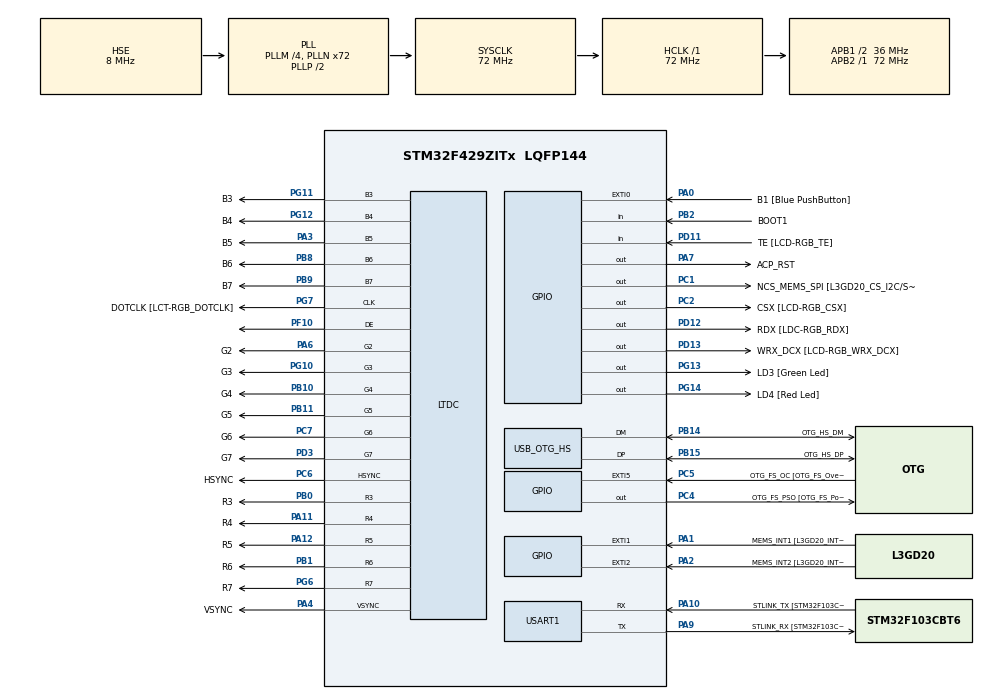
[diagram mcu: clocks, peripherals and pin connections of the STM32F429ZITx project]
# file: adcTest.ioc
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DMA2D.ColorMode=DMA2D_OUTPUT_RGB565
FREERTOS.Tasks01=blinkTask,24,128,StartBlinkTask,Default,NULL,Dynamic,NULL,NULL;usartTask,8,128,StartUsartTask,Default,NULL,Dynamic,NULL,NULL;lcdTask,8,128,StartLcdTask,Default,NULL,Dynamic,NULL,NULL
LTDC.ActiveH=240
LTDC.ActiveW=320
LTDC.Red=255
Mcu.Family=STM32F4
Mcu.Name=STM32F429ZITx
Mcu.Package=LQFP144
NVIC.OTG_HS_IRQn=true\:5\:0\:false\:false\:true\:true\:true\:true\:true
NVIC.PriorityGroup=NVIC_PRIORITYGROUP_4
NVIC.TIM6_DAC_IRQn=true\:15\:0\:false\:false\:true\:false\:false\:true\:true
NVIC.TimeBase=TIM6_DAC_IRQn
NVIC.TimeBaseIP=TIM6
PA0/WKUP.GPIO_Label=B1 [Blue PushButton]
PA0/WKUP.GPIO_ModeDefaultEXTI=GPIO_MODE_EVT_RISING
PA0/WKUP.GPIO_PuPd=GPIO_NOPULL
PA0/WKUP.Signal=GPXTI0
PA1.GPIO_Label=MEMS_INT1 [L3GD20_INT1]
PA1.GPIO_ModeDefaultEXTI=GPIO_MODE_EVT_RISING
PA1.GPIO_PuPd=GPIO_NOPULL
PA1.Signal=GPXTI1
PA10.GPIO_Label=STLINK_TX [STM32F103CBT6_PA2]
PA10.Mode=Asynchronous
PA10.Signal=USART1_RX
PA11.GPIO_Label=R4
PA11.GPIO_Mode=GPIO_MODE_AF_PP
PA11.GPIO_PuPd=GPIO_NOPULL
PA11.GPIO_Speed=GPIO_SPEED_FREQ_LOW
PA11.Mode=RGB565
PA11.Signal=LTDC_R4
PA12.GPIO_Label=R5
PA12.GPIO_Mode=GPIO_MODE_AF_PP
PA12.GPIO_PuPd=GPIO_NOPULL
PA12.GPIO_Speed=GPIO_SPEED_FREQ_LOW
PA12.Mode=RGB565
PA12.Signal=LTDC_R5
PA13.GPIO_Label=SWDIO
PA13.Mode=Serial_Wire
PA13.Signal=SYS_JTMS-SWDIO
PA14.GPIO_Label=SWCLK
PA14.Mode=Serial_Wire
PA14.Signal=SYS_JTCK-SWCLK
PA2.GPIO_Label=MEMS_INT2 [L3GD20_INT2]
PA2.GPIO_ModeDefaultEXTI=GPIO_MODE_EVT_RISING
PA2.GPIO_PuPd=GPIO_NOPULL
PA2.Signal=GPXTI2
PA3.GPIO_Label=B5
PA3.GPIO_Mode=GPIO_MODE_AF_PP
PA3.GPIO_PuPd=GPIO_NOPULL
PA3.GPIO_Speed=GPIO_SPEED_FREQ_LOW
PA3.Mode=RGB565
PA3.Signal=LTDC_B5
PA4.GPIO_Label=VSYNC
PA4.GPIO_Mode=GPIO_MODE_AF_PP
PA4.GPIO_PuPd=GPIO_NOPULL
PA4.GPIO_Speed=GPIO_SPEED_FREQ_LOW
PA4.Mode=RGB565
PA4.Signal=LTDC_VSYNC
PA6.GPIO_Label=G2
PA6.GPIO_Mode=GPIO_MODE_AF_PP
PA6.GPIO_PuPd=GPIO_NOPULL
PA6.GPIO_Speed=GPIO_SPEED_FREQ_LOW
PA6.Mode=RGB565
PA6.Signal=LTDC_G2
PA7.GPIO_Label=ACP_RST
PA7.GPIO_Mode=GPIO_MODE_OUTPUT_PP
PA7.GPIO_PuPd=GPIO_NOPULL
PA7.GPIO_Speed=GPIO_SPEED_FREQ_LOW
PA7.Signal=GPIO_Output
PA9.GPIO_Label=STLINK_RX [STM32F103CBT6_PA3]
PA9.Mode=Asynchronous
PA9.Signal=USART1_TX
PB0.GPIO_Label=R3
PB0.GPIO_Mode=GPIO_MODE_AF_PP
PB0.GPIO_PuPd=GPIO_NOPULL
PB0.GPIO_Speed=GPIO_SPEED_FREQ_LOW
PB0.Mode=RGB565
PB0.Signal=LTDC_R3
PB1.GPIO_Label=R6
PB1.GPIO_Mode=GPIO_MODE_AF_PP
PB1.GPIO_PuPd=GPIO_NOPULL
PB1.GPIO_Speed=GPIO_SPEED_FREQ_LOW
PB1.Mode=RGB565
PB1.Signal=LTDC_R6
PB10.GPIO_Label=G4
PB10.GPIO_Mode=GPIO_MODE_AF_PP
PB10.GPIO_PuPd=GPIO_NOPULL
PB10.GPIO_Speed=GPIO_SPEED_FREQ_LOW
PB10.Mode=RGB565
PB10.Signal=LTDC_G4
PB11.GPIO_Label=G5
PB11.GPIO_Mode=GPIO_MODE_AF_PP
PB11.GPIO_PuPd=GPIO_NOPULL
PB11.GPIO_Speed=GPIO_SPEED_FREQ_LOW
PB11.Mode=RGB565
PB11.Signal=LTDC_G5
PB13.GPIO_Label=VBUS_HS
PB13.GPIO_Mode=GPIO_MODE_INPUT
PB13.GPIO_PuPd=GPIO_NOPULL
PB13.Signal=USB_OTG_HS_VBUS
PB14.GPIO_Label=OTG_HS_DM
PB14.GPIO_Mode=GPIO_MODE_AF_PP
PB14.GPIO_PuPd=GPIO_NOPULL
PB14.GPIO_Speed=GPIO_SPEED_FREQ_LOW
PB14.Mode=Host_FS
PB14.Signal=USB_OTG_HS_DM
PB15.GPIO_Label=OTG_HS_DP
PB15.GPIO_Mode=GPIO_MODE_AF_PP
PB15.GPIO_PuPd=GPIO_NOPULL
PB15.GPIO_Speed=GPIO_SPEED_FREQ_LOW
PB15.Mode=Host_FS
PB15.Signal=USB_OTG_HS_DP
PB2/BOOT1.GPIO_Label=BOOT1
PB2/BOOT1.GPIO_Mode=GPIO_MODE_INPUT
PB2/BOOT1.GPIO_PuPd=GPIO_NOPULL
PB2/BOOT1.Signal=GPIO_Input
PB5.GPIO_Label=SDCKE1
PB5.GPIO_Mode=GPIO_MODE_AF_PP
PB5.GPIO_PuPd=GPIO_NOPULL
PB5.GPIO_Speed=GPIO_SPEED_FREQ_VERY_HIGH
PB5.Signal=FMC_SDCKE1
PB6.GPIO_Label=SDNE1 [SDRAM_CS]
PB6.GPIO_Mode=GPIO_MODE_AF_PP
PB6.GPIO_PuPd=GPIO_NOPULL
PB6.GPIO_Speed=GPIO_SPEED_FREQ_VERY_HIGH
PB6.Signal=FMC_SDNE1
PB8.GPIO_Label=B6
PB8.GPIO_Mode=GPIO_MODE_AF_PP
PB8.GPIO_PuPd=GPIO_NOPULL
PB8.GPIO_Speed=GPIO_SPEED_FREQ_LOW
PB8.Mode=RGB565
PB8.Signal=LTDC_B6
PB9.GPIO_Label=B7
PB9.GPIO_Mode=GPIO_MODE_AF_PP
PB9.GPIO_PuPd=GPIO_NOPULL
PB9.GPIO_Speed=GPIO_SPEED_FREQ_LOW
PB9.Mode=RGB565
PB9.Signal=LTDC_B7
PC0.GPIO_Label=SDNWE
PC0.GPIO_Mode=GPIO_MODE_AF_PP
PC0.GPIO_PuPd=GPIO_NOPULL
PC0.GPIO_Speed=GPIO_SPEED_FREQ_VERY_HIGH
PC0.Signal=FMC_SDNWE
PC1.GPIO_Label=NCS_MEMS_SPI [L3GD20_CS_I2C/SPI]
PC1.GPIO_Mode=GPIO_MODE_OUTPUT_PP
PC1.GPIO_PuPd=GPIO_NOPULL
PC1.GPIO_Speed=GPIO_SPEED_FREQ_LOW
PC1.Signal=GPIO_Output
PC10.GPIO_Label=R2
PC10.GPIO_Mode=GPIO_MODE_AF_PP
PC10.GPIO_PuPd=GPIO_NOPULL
PC10.GPIO_Speed=GPIO_SPEED_FREQ_LOW
PC10.Signal=LTDC_R2
PC2.GPIO_Label=CSX [LCD-RGB_CSX]
PC2.GPIO_Mode=GPIO_MODE_OUTPUT_PP
PC2.GPIO_PuPd=GPIO_NOPULL
PC2.GPIO_Speed=GPIO_SPEED_FREQ_LOW
PC2.Signal=GPIO_Output
PC4.GPIO_Label=OTG_FS_PSO [OTG_FS_PowerSwitchOn]
PC4.GPIO_Mode=GPIO_MODE_OUTPUT_PP
PC4.GPIO_PuPd=GPIO_NOPULL
PC4.GPIO_Speed=GPIO_SPEED_FREQ_LOW
PC4.Signal=GPIO_Output
PC5.GPIO_Label=OTG_FS_OC [OTG_FS_OverCurrent]
PC5.GPIO_ModeDefaultEXTI=GPIO_MODE_EVT_RISING
PC5.Signal=GPXTI5
PC6.GPIO_Label=HSYNC
PC6.GPIO_Mode=GPIO_MODE_AF_PP
PC6.GPIO_PuPd=GPIO_NOPULL
PC6.GPIO_Speed=GPIO_SPEED_FREQ_LOW
PC6.Mode=RGB565
PC6.Signal=LTDC_HSYNC
PC7.GPIO_Label=G6
PC7.GPIO_Mode=GPIO_MODE_AF_PP
PC7.GPIO_PuPd=GPIO_NOPULL
PC7.GPIO_Speed=GPIO_SPEED_FREQ_LOW
PC7.Mode=RGB565
PC7.Signal=LTDC_G6
PD0.GPIO_Label=D2
PD0.GPIO_Mode=GPIO_MODE_AF_PP
PD0.GPIO_PuPd=GPIO_NOPULL
PD0.GPIO_Speed=GPIO_SPEED_FREQ_VERY_HIGH
PD0.Signal=FMC_D2_DA2
PD1.GPIO_Label=D3
PD1.GPIO_Mode=GPIO_MODE_AF_PP
PD1.GPIO_PuPd=GPIO_NOPULL
PD1.GPIO_Speed=GPIO_SPEED_FREQ_VERY_HIGH
PD1.Signal=FMC_D3_DA3
PD10.GPIO_Label=D15
PD10.GPIO_Mode=GPIO_MODE_AF_PP
PD10.GPIO_PuPd=GPIO_NOPULL
PD10.GPIO_Speed=GPIO_SPEED_FREQ_VERY_HIGH
PD10.Signal=FMC_D15_DA15
PD11.GPIO_Label=TE [LCD-RGB_TE]
PD11.GPIO_Mode=GPIO_MODE_INPUT
PD11.GPIO_PuPd=GPIO_NOPULL
PD11.Signal=GPIO_Input
PD12.GPIO_Label=RDX [LDC-RGB_RDX]
PD12.GPIO_Mode=GPIO_MODE_OUTPUT_PP
PD12.GPIO_PuPd=GPIO_NOPULL
PD12.GPIO_Speed=GPIO_SPEED_FREQ_LOW
PD12.Signal=GPIO_Output
PD13.GPIO_Label=WRX_DCX [LCD-RGB_WRX_DCX]
PD13.GPIO_Mode=GPIO_MODE_OUTPUT_PP
PD13.GPIO_PuPd=GPIO_NOPULL
PD13.GPIO_Speed=GPIO_SPEED_FREQ_LOW
PD13.Signal=GPIO_Output
PD14.GPIO_Label=D0
PD14.GPIO_Mode=GPIO_MODE_AF_PP
PD14.GPIO_PuPd=GPIO_NOPULL
PD14.GPIO_Speed=GPIO_SPEED_FREQ_VERY_HIGH
PD14.Signal=FMC_D0_DA0
PD15.GPIO_Label=D1
PD15.GPIO_Mode=GPIO_MODE_AF_PP
PD15.GPIO_PuPd=GPIO_NOPULL
PD15.GPIO_Speed=GPIO_SPEED_FREQ_VERY_HIGH
PD15.Signal=FMC_D1_DA1
PD3.GPIO_Label=G7
PD3.GPIO_Mode=GPIO_MODE_AF_PP
PD3.GPIO_PuPd=GPIO_NOPULL
PD3.GPIO_Speed=GPIO_SPEED_FREQ_LOW
PD3.Mode=RGB565
PD3.Signal=LTDC_G7
PD6.GPIO_Label=B2
PD6.GPIO_Mode=GPIO_MODE_AF_PP
PD6.GPIO_PuPd=GPIO_NOPULL
PD6.GPIO_Speed=GPIO_SPEED_FREQ_LOW
PD6.Signal=LTDC_B2
PD8.GPIO_Label=D13
PD8.GPIO_Mode=GPIO_MODE_AF_PP
PD8.GPIO_PuPd=GPIO_NOPULL
PD8.GPIO_Speed=GPIO_SPEED_FREQ_VERY_HIGH
PD8.Signal=FMC_D13_DA13
PD9.GPIO_Label=D14
PD9.GPIO_Mode=GPIO_MODE_AF_PP
PD9.GPIO_PuPd=GPIO_NOPULL
PD9.GPIO_Speed=GPIO_SPEED_FREQ_VERY_HIGH
PD9.Signal=FMC_D14_DA14
PE0.GPIO_Label=NBL0 [SDRAM_LDQM]
PE0.GPIO_Mode=GPIO_MODE_AF_PP
PE0.GPIO_PuPd=GPIO_NOPULL
PE0.GPIO_Speed=GPIO_SPEED_FREQ_VERY_HIGH
PE0.Signal=FMC_NBL0
PE1.GPIO_Label=NBL1 [SDRAM_UDQM]
PE1.GPIO_Mode=GPIO_MODE_AF_PP
PE1.GPIO_PuPd=GPIO_NOPULL
PE1.GPIO_Speed=GPIO_SPEED_FREQ_VERY_HIGH
PE1.Signal=FMC_NBL1
PE10.GPIO_Label=D7
PE10.GPIO_Mode=GPIO_MODE_AF_PP
PE10.GPIO_PuPd=GPIO_NOPULL
PE10.GPIO_Speed=GPIO_SPEED_FREQ_VERY_HIGH
PE10.Signal=FMC_D7_DA7
PE11.GPIO_Label=D8
PE11.GPIO_Mode=GPIO_MODE_AF_PP
PE11.GPIO_PuPd=GPIO_NOPULL
PE11.GPIO_Speed=GPIO_SPEED_FREQ_VERY_HIGH
PE11.Signal=FMC_D8_DA8
PE12.GPIO_Label=D9
PE12.GPIO_Mode=GPIO_MODE_AF_PP
PE12.GPIO_PuPd=GPIO_NOPULL
PE12.GPIO_Speed=GPIO_SPEED_FREQ_VERY_HIGH
PE12.Signal=FMC_D9_DA9
PE13.GPIO_Label=D10
PE13.GPIO_Mode=GPIO_MODE_AF_PP
PE13.GPIO_PuPd=GPIO_NOPULL
PE13.GPIO_Speed=GPIO_SPEED_FREQ_VERY_HIGH
PE13.Signal=FMC_D10_DA10
PE14.GPIO_Label=D11
PE14.GPIO_Mode=GPIO_MODE_AF_PP
PE14.GPIO_PuPd=GPIO_NOPULL
PE14.GPIO_Speed=GPIO_SPEED_FREQ_VERY_HIGH
PE14.Signal=FMC_D11_DA11
PE15.GPIO_Label=D12
PE15.GPIO_Mode=GPIO_MODE_AF_PP
PE15.GPIO_PuPd=GPIO_NOPULL
PE15.GPIO_Speed=GPIO_SPEED_FREQ_VERY_HIGH
PE15.Signal=FMC_D12_DA12
PE7.GPIO_Label=D4
PE7.GPIO_Mode=GPIO_MODE_AF_PP
PE7.GPIO_PuPd=GPIO_NOPULL
PE7.GPIO_Speed=GPIO_SPEED_FREQ_VERY_HIGH
PE7.Signal=FMC_D4_DA4
PE8.GPIO_Label=D5
PE8.GPIO_Mode=GPIO_MODE_AF_PP
PE8.GPIO_PuPd=GPIO_NOPULL
PE8.GPIO_Speed=GPIO_SPEED_FREQ_VERY_HIGH
PE8.Signal=FMC_D5_DA5
PE9.GPIO_Label=D6
PE9.GPIO_Mode=GPIO_MODE_AF_PP
PE9.GPIO_PuPd=GPIO_NOPULL
PE9.GPIO_Speed=GPIO_SPEED_FREQ_VERY_HIGH
PE9.Signal=FMC_D6_DA6
PF0.GPIO_Label=A0
PF0.GPIO_Mode=GPIO_MODE_AF_PP
PF0.GPIO_PuPd=GPIO_NOPULL
PF0.GPIO_Speed=GPIO_SPEED_FREQ_VERY_HIGH
PF0.Signal=FMC_A0
PF1.GPIO_Label=A1
PF1.GPIO_Mode=GPIO_MODE_AF_PP
PF1.GPIO_PuPd=GPIO_NOPULL
PF1.GPIO_Speed=GPIO_SPEED_FREQ_VERY_HIGH
PF1.Signal=FMC_A1
PF10.Mode=RGB565
PF10.Signal=LTDC_DE
PF11.GPIO_Label=SDNRAS
PF11.GPIO_Mode=GPIO_MODE_AF_PP
PF11.GPIO_PuPd=GPIO_NOPULL
PF11.GPIO_Speed=GPIO_SPEED_FREQ_VERY_HIGH
PF11.Signal=FMC_SDNRAS
PF12.GPIO_Label=A6
PF12.GPIO_Mode=GPIO_MODE_AF_PP
PF12.GPIO_PuPd=GPIO_NOPULL
PF12.GPIO_Speed=GPIO_SPEED_FREQ_VERY_HIGH
PF12.Signal=FMC_A6
PF13.GPIO_Label=A7
PF13.GPIO_Mode=GPIO_MODE_AF_PP
PF13.GPIO_PuPd=GPIO_NOPULL
PF13.GPIO_Speed=GPIO_SPEED_FREQ_VERY_HIGH
PF13.Signal=FMC_A7
PF14.GPIO_Label=A8
PF14.GPIO_Mode=GPIO_MODE_AF_PP
PF14.GPIO_PuPd=GPIO_NOPULL
PF14.GPIO_Speed=GPIO_SPEED_FREQ_VERY_HIGH
PF14.Signal=FMC_A8
PF15.GPIO_Label=A9
PF15.GPIO_Mode=GPIO_MODE_AF_PP
PF15.GPIO_PuPd=GPIO_NOPULL
PF15.GPIO_Speed=GPIO_SPEED_FREQ_VERY_HIGH
PF15.Signal=FMC_A9
PF2.GPIO_Label=A2
PF2.GPIO_Mode=GPIO_MODE_AF_PP
PF2.GPIO_PuPd=GPIO_NOPULL
PF2.GPIO_Speed=GPIO_SPEED_FREQ_VERY_HIGH
PF2.Signal=FMC_A2
PF3.GPIO_Label=A3
PF3.GPIO_Mode=GPIO_MODE_AF_PP
PF3.GPIO_PuPd=GPIO_NOPULL
PF3.GPIO_Speed=GPIO_SPEED_FREQ_VERY_HIGH
PF3.Signal=FMC_A3
PF4.GPIO_Label=A4
PF4.GPIO_Mode=GPIO_MODE_AF_PP
PF4.GPIO_PuPd=GPIO_NOPULL
PF4.GPIO_Speed=GPIO_SPEED_FREQ_VERY_HIGH
PF4.Signal=FMC_A4
PF5.GPIO_Label=A5
PF5.GPIO_Mode=GPIO_MODE_AF_PP
PF5.GPIO_PuPd=GPIO_NOPULL
PF5.GPIO_Speed=GPIO_SPEED_FREQ_VERY_HIGH
PF5.Signal=FMC_A5
PG0.GPIO_Label=A10
PG0.GPIO_Mode=GPIO_MODE_AF_PP
PG0.GPIO_PuPd=GPIO_NOPULL
PG0.GPIO_Speed=GPIO_SPEED_FREQ_VERY_HIGH
PG0.Signal=FMC_A10
PG1.GPIO_Label=A11
PG1.GPIO_Mode=GPIO_MODE_AF_PP
PG1.GPIO_PuPd=GPIO_NOPULL
PG1.GPIO_Speed=GPIO_SPEED_FREQ_VERY_HIGH
PG1.Signal=FMC_A11
PG10.GPIO_Label=G3
PG10.GPIO_Mode=GPIO_MODE_AF_PP
PG10.GPIO_PuPd=GPIO_NOPULL
PG10.GPIO_Speed=GPIO_SPEED_FREQ_LOW
PG10.Mode=RGB565
PG10.Signal=LTDC_G3
PG11.GPIO_Label=B3
PG11.GPIO_Mode=GPIO_MODE_AF_PP
PG11.GPIO_PuPd=GPIO_NOPULL
PG11.GPIO_Speed=GPIO_SPEED_FREQ_LOW
PG11.Mode=RGB565
PG11.Signal=LTDC_B3
PG12.GPIO_Label=B4
PG12.GPIO_Mode=GPIO_MODE_AF_PP
PG12.GPIO_PuPd=GPIO_NOPULL
PG12.GPIO_Speed=GPIO_SPEED_FREQ_LOW
PG12.Mode=RGB565
PG12.Signal=LTDC_B4
PG13.GPIO_Label=LD3 [Green Led]
PG13.GPIO_Mode=GPIO_MODE_OUTPUT_PP
PG13.GPIO_PuPd=GPIO_NOPULL
PG13.GPIO_Speed=GPIO_SPEED_FREQ_LOW
PG13.Signal=GPIO_Output
PG14.GPIO_Label=LD4 [Red Led]
PG14.GPIO_Mode=GPIO_MODE_OUTPUT_PP
PG14.GPIO_PuPd=GPIO_NOPULL
PG14.GPIO_Speed=GPIO_SPEED_FREQ_LOW
PG14.Signal=GPIO_Output
PG15.GPIO_Label=SDNCAS
PG15.GPIO_Mode=GPIO_MODE_AF_PP
PG15.GPIO_PuPd=GPIO_NOPULL
PG15.GPIO_Speed=GPIO_SPEED_FREQ_VERY_HIGH
PG15.Signal=FMC_SDNCAS
PG4.GPIO_Label=BA0
PG4.GPIO_Mode=GPIO_MODE_AF_PP
PG4.GPIO_PuPd=GPIO_NOPULL
PG4.GPIO_Speed=GPIO_SPEED_FREQ_VERY_HIGH
PG4.Signal=FMC_A14_BA0
PG5.GPIO_Label=BA1
PG5.GPIO_Mode=GPIO_MODE_AF_PP
PG5.GPIO_PuPd=GPIO_NOPULL
PG5.GPIO_Speed=GPIO_SPEED_FREQ_VERY_HIGH
PG5.Signal=FMC_A15_BA1
PG6.GPIO_Label=R7
PG6.GPIO_Mode=GPIO_MODE_AF_PP
PG6.GPIO_PuPd=GPIO_NOPULL
PG6.GPIO_Speed=GPIO_SPEED_FREQ_LOW
PG6.Mode=RGB565
PG6.Signal=LTDC_R7
PG7.GPIO_Label=DOTCLK [LCT-RGB_DOTCLK]
PG7.GPIO_Mode=GPIO_MODE_AF_PP
PG7.GPIO_PuPd=GPIO_NOPULL
PG7.GPIO_Speed=GPIO_SPEED_FREQ_LOW
PG7.Mode=RGB565
PG7.Signal=LTDC_CLK
PG8.GPIO_Label=SDCLK
PG8.GPIO_Mode=GPIO_MODE_AF_PP
PG8.GPIO_PuPd=GPIO_NOPULL
PG8.GPIO_Speed=GPIO_SPEED_FREQ_VERY_HIGH
PG8.Signal=FMC_SDCLK
PH0/OSC_IN.GPIO_Label=PH0-OSC_IN
PH0/OSC_IN.Mode=HSE-External-Oscillator
PH0/OSC_IN.Signal=RCC_OSC_IN
PH1/OSC_OUT.GPIO_Label=PH1-OSC_OUT
PH1/OSC_OUT.Mode=HSE-External-Oscillator
PH1/OSC_OUT.Signal=RCC_OSC_OUT
ProjectManager.HeapSize=0x200
ProjectManager.StackSize=0x400
ProjectManager.TargetToolchain=Makefile
RCC.48MHZClocksFreq_Value=48000000
RCC.AHBFreq_Value=72000000
RCC.APB1CLKDivider=RCC_HCLK_DIV2
RCC.APB1Freq_Value=36000000
RCC.APB1TimFreq_Value=72000000
RCC.APB2Freq_Value=72000000
RCC.APB2TimFreq_Value=72000000
RCC.CortexFreq_Value=72000000
RCC.HCLKFreq_Value=72000000
RCC.HSE_VALUE=8000000
RCC.HSI_VALUE=16000000
RCC.LSE_VALUE=32768
RCC.PLLM=4
RCC.PLLN=72
RCC.PLLQ=3
RCC.PLLSAIN=50
RCC.SYSCLKFreq_VALUE=72000000
RCC.SYSCLKSource=RCC_SYSCLKSOURCE_PLLCLK
RCC.VCOOutputFreq_Value=144000000
SH.FMC_A0.0=FMC_A0
SH.FMC_A1.0=FMC_A1
SH.FMC_A10.0=FMC_A10
SH.FMC_A11.0=FMC_A11
SH.FMC_A14_BA0.0=FMC_BA0
SH.FMC_A15_BA1.0=FMC_BA1
SH.FMC_A2.0=FMC_A2
SH.FMC_A3.0=FMC_A3
SH.FMC_A4.0=FMC_A4
SH.FMC_A5.0=FMC_A5
SH.FMC_A6.0=FMC_A6
SH.FMC_A7.0=FMC_A7
SH.FMC_A8.0=FMC_A8
SH.FMC_A9.0=FMC_A9
SH.FMC_D0_DA0.0=FMC_D0
SH.FMC_D10_DA10.0=FMC_D10
SH.FMC_D11_DA11.0=FMC_D11
SH.FMC_D12_DA12.0=FMC_D12
SH.FMC_D13_DA13.0=FMC_D13
SH.FMC_D14_DA14.0=FMC_D14
SH.FMC_D15_DA15.0=FMC_D15
SH.FMC_D1_DA1.0=FMC_D1
SH.FMC_D2_DA2.0=FMC_D2
SH.FMC_D3_DA3.0=FMC_D3
SH.FMC_D4_DA4.0=FMC_D4
SH.FMC_D5_DA5.0=FMC_D5
SH.FMC_D6_DA6.0=FMC_D6
SH.FMC_D7_DA7.0=FMC_D7
SH.FMC_D8_DA8.0=FMC_D8
SH.FMC_D9_DA9.0=FMC_D9
SH.FMC_NBL0.0=FMC_NBL0
SH.FMC_NBL1.0=FMC_NBL1
SH.FMC_SDCLK.0=FMC_SDCLK
SH.FMC_SDNCAS.0=FMC_SDNCAS
SH.FMC_SDNRAS.0=FMC_SDNRAS
SH.FMC_SDNWE.0=FMC_SDNWE
USART1.VirtualMode=VM_ASYNC
USB_HOST.BSP.number=1
USB_HOST.USBH_HandleTypeDef-CDC_HS=hUsbHostHS
USB_HOST.USBH_USE_OS-CDC_HS=0
USB_HOST.VirtualModeHS=Cdc
USB_HOST0.BSP.STBoard=false
USB_HOST0.BSP.api=UnknownBspDriver
USB_HOST0.BSP.i2caddr=0
USB_HOST0.BSP.i2creg=0
USB_HOST0.BSP.instance=PC4
USB_HOST0.BSP.ip=GPIO
USB_HOST0.BSP.mode=Output
USB_HOST0.BSP.name=Drive_VBUS_HS
USB_HOST0.BSP.solution=PC4
USB_OTG_HS.VirtualMode-Host_FS=Host_FS
VP_DMA2D_VS_DMA2D.Mode=DMA2D_Activate
VP_FREERTOS_VS_CMSIS_V2.Mode=CMSIS_V2
VP_SYS_VS_tim6.Mode=TIM6
VP_TIM1_VS_ClockSourceINT.Mode=Internal
VP_USB_HOST_VS_USB_HOST_CDC_HS.Mode=CDC_HS
board=STM32F429I-DISC1

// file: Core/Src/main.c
/* USER CODE BEGIN Header */
/**
  ******************************************************************************
  * @file           : main.c
  * @brief          : Main program body
  ******************************************************************************
  * @attention
  *
  * Copyright (c) 2022 STMicroelectronics.
  * All rights reserved.
  *
  * This software is licensed under terms that can be found in the LICENSE file
  * in the root directory of this software component.
  * If no LICENSE file comes with this software, it is provided AS-IS.
  *
  ******************************************************************************
  */
/* USER CODE END Header */
#include "main.h"
#include "cmsis_os.h"
#include "usb_host.h"

/* USER CODE BEGIN Includes */
#include <stdio.h>
#include <string.h>

#include "stm32f429i_discovery_lcd.h"
#include "stm32f429i_discovery_sdram.h"
#include "stm32f429i_discovery_ts.h"
/* USER CODE END Includes */

DMA2D_HandleTypeDef hdma2d;

LTDC_HandleTypeDef hltdc;

TIM_HandleTypeDef htim1;

UART_HandleTypeDef huart1;

/* Definitions for blinkTask */
osThreadId_t blinkTaskHandle;
const osThreadAttr_t blinkTask_attributes = {
  .name = "blinkTask",
  .stack_size = 128 * 4,
  .priority = (osPriority_t) osPriorityNormal,
};
/* Definitions for usartTask */
osThreadId_t usartTaskHandle;
const osThreadAttr_t usartTask_attributes = {
  .name = "usartTask",
  .stack_size = 128 * 4,
  .priority = (osPriority_t) osPriorityLow,
};
/* Definitions for lcdTask */
osThreadId_t lcdTaskHandle;
const osThreadAttr_t lcdTask_attributes = {
  .name = "lcdTask",
  .stack_size = 128 * 4,
  .priority = (osPriority_t) osPriorityLow,
};

void SystemClock_Config(void);
static void MX_GPIO_Init(void);
static void MX_TIM1_Init(void);
static void MX_USART1_UART_Init(void);
static void MX_DMA2D_Init(void);
static void MX_LTDC_Init(void);
void StartBlinkTask(void *argument);
void StartUsartTask(void *argument);
void StartLcdTask(void *argument);

int main(void)
{

  /* MCU Configuration--------------------------------------------------------*/

  /* Reset of all peripherals, Initializes the Flash interface and the Systick. */
  HAL_Init();

  /* Configure the system clock */
  SystemClock_Config();

  /* Initialize all configured peripherals */
  MX_GPIO_Init();
  MX_TIM1_Init();
  MX_USART1_UART_Init();
  MX_DMA2D_Init();
  MX_LTDC_Init();
  /* USER CODE BEGIN 2 */
  //BSP_SDRAM_Init();
  //BSP_TS_Init(240, 320);

  BSP_LCD_Init();
  BSP_LCD_LayerDefaultInit(0, 0xC0000000);
  BSP_LCD_DisplayOn();

  BSP_LCD_SelectLayer(0);
  BSP_LCD_Clear(LCD_COLOR_BLACK);
  BSP_LCD_SetTextColor(LCD_COLOR_RED);
  /* USER CODE END 2 */

  /* Init scheduler */
  osKernelInitialize();

  /* Create the thread(s) */
  /* creation of blinkTask */
  blinkTaskHandle = osThreadNew(StartBlinkTask, NULL, &blinkTask_attributes);

  /* creation of usartTask */
  usartTaskHandle = osThreadNew(StartUsartTask, NULL, &usartTask_attributes);

  /* creation of lcdTask */
  lcdTaskHandle = osThreadNew(StartLcdTask, NULL, &lcdTask_attributes);

  /* Start scheduler */
  osKernelStart();

  /* We should never get here as control is now taken by the scheduler */
  /* Infinite loop */
  while (1)
  {

    /* USER CODE BEGIN 3 */
    if (HAL_GPIO_ReadPin(GPIOA, GPIO_PIN_0) == GPIO_PIN_SET)
    {
      HAL_GPIO_WritePin(GPIOG, GPIO_PIN_13, GPIO_PIN_SET);
      HAL_GPIO_WritePin(GPIOG, GPIO_PIN_14, GPIO_PIN_RESET);
      HAL_Delay(100);
      HAL_GPIO_WritePin(GPIOG, GPIO_PIN_13, GPIO_PIN_RESET);
      HAL_GPIO_WritePin(GPIOG, GPIO_PIN_14, GPIO_PIN_SET);
      HAL_Delay(100);
    }
    else
    {
      HAL_GPIO_WritePin(GPIOG, GPIO_PIN_13, GPIO_PIN_RESET);
      HAL_GPIO_WritePin(GPIOG, GPIO_PIN_14, GPIO_PIN_RESET);
    }
  }
  /* USER CODE END 3 */
}

void SystemClock_Config(void)
{
  RCC_OscInitTypeDef RCC_OscInitStruct = {0};
  RCC_ClkInitTypeDef RCC_ClkInitStruct = {0};

  /** Configure the main internal regulator output voltage
  */
  __HAL_RCC_PWR_CLK_ENABLE();
  __HAL_PWR_VOLTAGESCALING_CONFIG(PWR_REGULATOR_VOLTAGE_SCALE3);

  /** Initializes the RCC Oscillators according to the specified parameters
  * in the RCC_OscInitTypeDef structure.
  */
  RCC_OscInitStruct.OscillatorType = RCC_OSCILLATORTYPE_HSE;
  RCC_OscInitStruct.HSEState = RCC_HSE_ON;
  RCC_OscInitStruct.PLL.PLLState = RCC_PLL_ON;
  RCC_OscInitStruct.PLL.PLLSource = RCC_PLLSOURCE_HSE;
  RCC_OscInitStruct.PLL.PLLM = 4;
  RCC_OscInitStruct.PLL.PLLN = 72;
  RCC_OscInitStruct.PLL.PLLP = RCC_PLLP_DIV2;
  RCC_OscInitStruct.PLL.PLLQ = 3;
  if (HAL_RCC_OscConfig(&RCC_OscInitStruct) != HAL_OK)
  {
    Error_Handler();
  }

  /** Initializes the CPU, AHB and APB buses clocks
  */
  RCC_ClkInitStruct.ClockType = RCC_CLOCKTYPE_HCLK|RCC_CLOCKTYPE_SYSCLK
                              |RCC_CLOCKTYPE_PCLK1|RCC_CLOCKTYPE_PCLK2;
  RCC_ClkInitStruct.SYSCLKSource = RCC_SYSCLKSOURCE_PLLCLK;
  RCC_ClkInitStruct.AHBCLKDivider = RCC_SYSCLK_DIV1;
  RCC_ClkInitStruct.APB1CLKDivider = RCC_HCLK_DIV2;
  RCC_ClkInitStruct.APB2CLKDivider = RCC_HCLK_DIV1;

  if (HAL_RCC_ClockConfig(&RCC_ClkInitStruct, FLASH_LATENCY_2) != HAL_OK)
  {
    Error_Handler();
  }
}

static void MX_DMA2D_Init(void)
{

  hdma2d.Instance = DMA2D;
  hdma2d.Init.Mode = DMA2D_M2M;
  hdma2d.Init.ColorMode = DMA2D_OUTPUT_RGB565;
  hdma2d.Init.OutputOffset = 0;
  hdma2d.LayerCfg[1].InputOffset = 0;
  hdma2d.LayerCfg[1].InputColorMode = DMA2D_INPUT_RGB565;
  hdma2d.LayerCfg[1].AlphaMode = DMA2D_NO_MODIF_ALPHA;
  hdma2d.LayerCfg[1].InputAlpha = 0;
  if (HAL_DMA2D_Init(&hdma2d) != HAL_OK)
  {
    Error_Handler();
  }
  if (HAL_DMA2D_ConfigLayer(&hdma2d, 1) != HAL_OK)
  {
    Error_Handler();
  }

}

static void MX_LTDC_Init(void)
{

  LTDC_LayerCfgTypeDef pLayerCfg = {0};
  LTDC_LayerCfgTypeDef pLayerCfg1 = {0};

  hltdc.Instance = LTDC;
  hltdc.Init.HSPolarity = LTDC_HSPOLARITY_AL;
  hltdc.Init.VSPolarity = LTDC_VSPOLARITY_AL;
  hltdc.Init.DEPolarity = LTDC_DEPOLARITY_AL;
  hltdc.Init.PCPolarity = LTDC_PCPOLARITY_IPC;
  hltdc.Init.HorizontalSync = 7;
  hltdc.Init.VerticalSync = 3;
  hltdc.Init.AccumulatedHBP = 14;
  hltdc.Init.AccumulatedVBP = 5;
  hltdc.Init.AccumulatedActiveW = 334;
  hltdc.Init.AccumulatedActiveH = 245;
  hltdc.Init.TotalWidth = 340;
  hltdc.Init.TotalHeigh = 247;
  hltdc.Init.Backcolor.Blue = 0;
  hltdc.Init.Backcolor.Green = 0;
  hltdc.Init.Backcolor.Red = 255;
  if (HAL_LTDC_Init(&hltdc) != HAL_OK)
  {
    Error_Handler();
  }
  pLayerCfg.WindowX0 = 0;
  pLayerCfg.WindowX1 = 0;
  pLayerCfg.WindowY0 = 0;
  pLayerCfg.WindowY1 = 0;
  pLayerCfg.PixelFormat = LTDC_PIXEL_FORMAT_ARGB8888;
  pLayerCfg.Alpha = 0;
  pLayerCfg.Alpha0 = 0;
  pLayerCfg.BlendingFactor1 = LTDC_BLENDING_FACTOR1_CA;
  pLayerCfg.BlendingFactor2 = LTDC_BLENDING_FACTOR2_CA;
  pLayerCfg.FBStartAdress = 0;
  pLayerCfg.ImageWidth = 0;
  pLayerCfg.ImageHeight = 0;
  pLayerCfg.Backcolor.Blue = 0;
  pLayerCfg.Backcolor.Green = 0;
  pLayerCfg.Backcolor.Red = 0;
  if (HAL_LTDC_ConfigLayer(&hltdc, &pLayerCfg, 0) != HAL_OK)
  {
    Error_Handler();
  }
  pLayerCfg1.WindowX0 = 0;
  pLayerCfg1.WindowX1 = 0;
  pLayerCfg1.WindowY0 = 0;
  pLayerCfg1.WindowY1 = 0;
  pLayerCfg1.PixelFormat = LTDC_PIXEL_FORMAT_ARGB8888;
  pLayerCfg1.Alpha = 0;
  pLayerCfg1.Alpha0 = 0;
  pLayerCfg1.BlendingFactor1 = LTDC_BLENDING_FACTOR1_CA;
  pLayerCfg1.BlendingFactor2 = LTDC_BLENDING_FACTOR2_CA;
  pLayerCfg1.FBStartAdress = 0;
  pLayerCfg1.ImageWidth = 0;
  pLayerCfg1.ImageHeight = 0;
  pLayerCfg1.Backcolor.Blue = 0;
  pLayerCfg1.Backcolor.Green = 0;
  pLayerCfg1.Backcolor.Red = 0;
  if (HAL_LTDC_ConfigLayer(&hltdc, &pLayerCfg1, 1) != HAL_OK)
  {
    Error_Handler();
  }

}

static void MX_TIM1_Init(void)
{

  TIM_ClockConfigTypeDef sClockSourceConfig = {0};
  TIM_MasterConfigTypeDef sMasterConfig = {0};

  htim1.Instance = TIM1;
  htim1.Init.Prescaler = 0;
  htim1.Init.CounterMode = TIM_COUNTERMODE_UP;
  htim1.Init.Period = 65535;
  htim1.Init.ClockDivision = TIM_CLOCKDIVISION_DIV1;
  htim1.Init.RepetitionCounter = 0;
  htim1.Init.AutoReloadPreload = TIM_AUTORELOAD_PRELOAD_DISABLE;
  if (HAL_TIM_Base_Init(&htim1) != HAL_OK)
  {
    Error_Handler();
  }
  sClockSourceConfig.ClockSource = TIM_CLOCKSOURCE_INTERNAL;
  if (HAL_TIM_ConfigClockSource(&htim1, &sClockSourceConfig) != HAL_OK)
  {
    Error_Handler();
  }
  sMasterConfig.MasterOutputTrigger = TIM_TRGO_RESET;
  sMasterConfig.MasterSlaveMode = TIM_MASTERSLAVEMODE_DISABLE;
  if (HAL_TIMEx_MasterConfigSynchronization(&htim1, &sMasterConfig) != HAL_OK)
  {
    Error_Handler();
  }

}

static void MX_USART1_UART_Init(void)
{

  huart1.Instance = USART1;
  huart1.Init.BaudRate = 115200;
  huart1.Init.WordLength = UART_WORDLENGTH_8B;
  huart1.Init.StopBits = UART_STOPBITS_1;
  huart1.Init.Parity = UART_PARITY_NONE;
  huart1.Init.Mode = UART_MODE_TX_RX;
  huart1.Init.HwFlowCtl = UART_HWCONTROL_NONE;
  huart1.Init.OverSampling = UART_OVERSAMPLING_16;
  if (HAL_UART_Init(&huart1) != HAL_OK)
  {
    Error_Handler();
  }

}

static void MX_GPIO_Init(void)
{
  GPIO_InitTypeDef GPIO_InitStruct = {0};

  /* GPIO Ports Clock Enable */
  __HAL_RCC_GPIOF_CLK_ENABLE();
  __HAL_RCC_GPIOH_CLK_ENABLE();
  __HAL_RCC_GPIOC_CLK_ENABLE();
  __HAL_RCC_GPIOA_CLK_ENABLE();
  __HAL_RCC_GPIOB_CLK_ENABLE();
  __HAL_RCC_GPIOG_CLK_ENABLE();
  __HAL_RCC_GPIOE_CLK_ENABLE();
  __HAL_RCC_GPIOD_CLK_ENABLE();

  /*Configure GPIO pin Output Level */
  HAL_GPIO_WritePin(GPIOC, NCS_MEMS_SPI_Pin|CSX_Pin|OTG_FS_PSO_Pin, GPIO_PIN_RESET);

  /*Configure GPIO pin Output Level */
  HAL_GPIO_WritePin(ACP_RST_GPIO_Port, ACP_RST_Pin, GPIO_PIN_RESET);

  /*Configure GPIO pin Output Level */
  HAL_GPIO_WritePin(GPIOD, RDX_Pin|WRX_DCX_Pin, GPIO_PIN_RESET);

  /*Configure GPIO pin Output Level */
  HAL_GPIO_WritePin(GPIOG, LD3_Pin|LD4_Pin, GPIO_PIN_RESET);

  /*Configure GPIO pins : A0_Pin A1_Pin A2_Pin A3_Pin
                           A4_Pin A5_Pin SDNRAS_Pin A6_Pin
                           A7_Pin A8_Pin A9_Pin */
  GPIO_InitStruct.Pin = A0_Pin|A1_Pin|A2_Pin|A3_Pin
                          |A4_Pin|A5_Pin|SDNRAS_Pin|A6_Pin
                          |A7_Pin|A8_Pin|A9_Pin;
  GPIO_InitStruct.Mode = GPIO_MODE_AF_PP;
  GPIO_InitStruct.Pull = GPIO_NOPULL;
  GPIO_InitStruct.Speed = GPIO_SPEED_FREQ_VERY_HIGH;
  GPIO_InitStruct.Alternate = GPIO_AF12_FMC;
  HAL_GPIO_Init(GPIOF, &GPIO_InitStruct);

  /*Configure GPIO pin : SDNWE_Pin */
  GPIO_InitStruct.Pin = SDNWE_Pin;
  GPIO_InitStruct.Mode = GPIO_MODE_AF_PP;
  GPIO_InitStruct.Pull = GPIO_NOPULL;
  GPIO_InitStruct.Speed = GPIO_SPEED_FREQ_VERY_HIGH;
  GPIO_InitStruct.Alternate = GPIO_AF12_FMC;
  HAL_GPIO_Init(SDNWE_GPIO_Port, &GPIO_InitStruct);

  /*Configure GPIO pins : NCS_MEMS_SPI_Pin CSX_Pin OTG_FS_PSO_Pin */
  GPIO_InitStruct.Pin = NCS_MEMS_SPI_Pin|CSX_Pin|OTG_FS_PSO_Pin;
  GPIO_InitStruct.Mode = GPIO_MODE_OUTPUT_PP;
  GPIO_InitStruct.Pull = GPIO_NOPULL;
  GPIO_InitStruct.Speed = GPIO_SPEED_FREQ_LOW;
  HAL_GPIO_Init(GPIOC, &GPIO_InitStruct);

  /*Configure GPIO pins : B1_Pin MEMS_INT1_Pin MEMS_INT2_Pin */
  GPIO_InitStruct.Pin = B1_Pin|MEMS_INT1_Pin|MEMS_INT2_Pin;
  GPIO_InitStruct.Mode = GPIO_MODE_EVT_RISING;
  GPIO_InitStruct.Pull = GPIO_NOPULL;
  HAL_GPIO_Init(GPIOA, &GPIO_InitStruct);

  /*Configure GPIO pin : ACP_RST_Pin */
  GPIO_InitStruct.Pin = ACP_RST_Pin;
  GPIO_InitStruct.Mode = GPIO_MODE_OUTPUT_PP;
  GPIO_InitStruct.Pull = GPIO_NOPULL;
  GPIO_InitStruct.Speed = GPIO_SPEED_FREQ_LOW;
  HAL_GPIO_Init(ACP_RST_GPIO_Port, &GPIO_InitStruct);

  /*Configure GPIO pin : OTG_FS_OC_Pin */
  GPIO_InitStruct.Pin = OTG_FS_OC_Pin;
  GPIO_InitStruct.Mode = GPIO_MODE_EVT_RISING;
  GPIO_InitStruct.Pull = GPIO_NOPULL;
  HAL_GPIO_Init(OTG_FS_OC_GPIO_Port, &GPIO_InitStruct);

  /*Configure GPIO pin : BOOT1_Pin */
  GPIO_InitStruct.Pin = BOOT1_Pin;
  GPIO_InitStruct.Mode = GPIO_MODE_INPUT;
  GPIO_InitStruct.Pull = GPIO_NOPULL;
  HAL_GPIO_Init(BOOT1_GPIO_Port, &GPIO_InitStruct);

  /*Configure GPIO pins : A10_Pin A11_Pin BA0_Pin BA1_Pin
                           SDCLK_Pin SDNCAS_Pin */
  GPIO_InitStruct.Pin = A10_Pin|A11_Pin|BA0_Pin|BA1_Pin
                          |SDCLK_Pin|SDNCAS_Pin;
  GPIO_InitStruct.Mode = GPIO_MODE_AF_PP;
  GPIO_InitStruct.Pull = GPIO_NOPULL;
  GPIO_InitStruct.Speed = GPIO_SPEED_FREQ_VERY_HIGH;
  GPIO_InitStruct.Alternate = GPIO_AF12_FMC;
  HAL_GPIO_Init(GPIOG, &GPIO_InitStruct);

  /*Configure GPIO pins : D4_Pin D5_Pin D6_Pin D7_Pin
                           D8_Pin D9_Pin D10_Pin D11_Pin
                           D12_Pin NBL0_Pin NBL1_Pin */
  GPIO_InitStruct.Pin = D4_Pin|D5_Pin|D6_Pin|D7_Pin
                          |D8_Pin|D9_Pin|D10_Pin|D11_Pin
                          |D12_Pin|NBL0_Pin|NBL1_Pin;
  GPIO_InitStruct.Mode = GPIO_MODE_AF_PP;
  GPIO_InitStruct.Pull = GPIO_NOPULL;
  GPIO_InitStruct.Speed = GPIO_SPEED_FREQ_VERY_HIGH;
  GPIO_InitStruct.Alternate = GPIO_AF12_FMC;
  HAL_GPIO_Init(GPIOE, &GPIO_InitStruct);

  /*Configure GPIO pins : D13_Pin D14_Pin D15_Pin D0_Pin
                           D1_Pin D2_Pin D3_Pin */
  GPIO_InitStruct.Pin = D13_Pin|D14_Pin|D15_Pin|D0_Pin
                          |D1_Pin|D2_Pin|D3_Pin;
  GPIO_InitStruct.Mode = GPIO_MODE_AF_PP;
  GPIO_InitStruct.Pull = GPIO_NOPULL;
  GPIO_InitStruct.Speed = GPIO_SPEED_FREQ_VERY_HIGH;
  GPIO_InitStruct.Alternate = GPIO_AF12_FMC;
  HAL_GPIO_Init(GPIOD, &GPIO_InitStruct);

  /*Configure GPIO pin : TE_Pin */
  GPIO_InitStruct.Pin = TE_Pin;
  GPIO_InitStruct.Mode = GPIO_MODE_INPUT;
  GPIO_InitStruct.Pull = GPIO_NOPULL;
  HAL_GPIO_Init(TE_GPIO_Port, &GPIO_InitStruct);

  /*Configure GPIO pins : RDX_Pin WRX_DCX_Pin */
  GPIO_InitStruct.Pin = RDX_Pin|WRX_DCX_Pin;
  GPIO_InitStruct.Mode = GPIO_MODE_OUTPUT_PP;
  GPIO_InitStruct.Pull = GPIO_NOPULL;
  GPIO_InitStruct.Speed = GPIO_SPEED_FREQ_LOW;
  HAL_GPIO_Init(GPIOD, &GPIO_InitStruct);

  /*Configure GPIO pins : LD3_Pin LD4_Pin */
  GPIO_InitStruct.Pin = LD3_Pin|LD4_Pin;
  GPIO_InitStruct.Mode = GPIO_MODE_OUTPUT_PP;
  GPIO_InitStruct.Pull = GPIO_NOPULL;
  GPIO_InitStruct.Speed = GPIO_SPEED_FREQ_LOW;
  HAL_GPIO_Init(GPIOG, &GPIO_InitStruct);

  /*Configure GPIO pins : SDCKE1_Pin SDNE1_Pin */
  GPIO_InitStruct.Pin = SDCKE1_Pin|SDNE1_Pin;
  GPIO_InitStruct.Mode = GPIO_MODE_AF_PP;
  GPIO_InitStruct.Pull = GPIO_NOPULL;
  GPIO_InitStruct.Speed = GPIO_SPEED_FREQ_VERY_HIGH;
  GPIO_InitStruct.Alternate = GPIO_AF12_FMC;
  HAL_GPIO_Init(GPIOB, &GPIO_InitStruct);

}

void StartBlinkTask(void *argument)
{
  /* init code for USB_HOST */
  MX_USB_HOST_Init();
  /* USER CODE BEGIN 5 */
  /* Infinite loop */
  HAL_GPIO_WritePin(GPIOG, GPIO_PIN_13, GPIO_PIN_RESET);
  HAL_GPIO_WritePin(GPIOG, GPIO_PIN_14, GPIO_PIN_SET);

  for(;;)
  {
    HAL_GPIO_TogglePin(GPIOG, GPIO_PIN_13);
    HAL_GPIO_TogglePin(GPIOG, GPIO_PIN_14);
    osDelay(1000);
  }
  /* USER CODE END 5 */
}

void StartUsartTask(void *argument)
{
  /* USER CODE BEGIN StartUsartTask */
  char redState[8];
  char greenState[8];

  uint8_t msg[50];

  GPIO_PinState red, green;
  /* Infinite loop */
  for(;;)
  {
    red = HAL_GPIO_ReadPin(GPIOG, GPIO_PIN_14);
    green = HAL_GPIO_ReadPin(GPIOG, GPIO_PIN_13);

    if (red == GPIO_PIN_SET)
    {
      strcpy(redState, "SET");
    }
    else
    {
      strcpy(redState, "RESET");
    }

    if (green == GPIO_PIN_SET)
    {
      strcpy(greenState, "SET");
    }
    else
    {
      strcpy(greenState, "RESET");
    }

    sprintf(msg, "Red State: %s, Green State: %s \r\n", redState, greenState);

    HAL_UART_Transmit(&huart1, msg, strlen((char *)msg), HAL_MAX_DELAY);

    osDelay(100);
  }
  /* USER CODE END StartUsartTask */
}

void StartLcdTask(void *argument)
{

  /* USER CODE BEGIN StartLcdTask */
  GPIO_PinState red;
  GPIO_PinState green;
  /* Infinite loop */
  for(;;)
  {
    red = HAL_GPIO_ReadPin(GPIOG, GPIO_PIN_14);
    green = HAL_GPIO_ReadPin(GPIOG, GPIO_PIN_13);

    if (red == GPIO_PIN_SET)
    {
      BSP_LCD_DisplayStringAt(50, 50, (uint8_t *)"RED LED: ON", LEFT_MODE);
    }
    else
    {
      BSP_LCD_DisplayStringAt(50, 50, (uint8_t *)"RED LED: OFF", LEFT_MODE);
    }

    if (green == GPIO_PIN_SET)
    {
      BSP_LCD_DisplayStringAt(50, 250, (uint8_t *)"GREEN LED: ON", LEFT_MODE);
    }
    else
    {
      BSP_LCD_DisplayStringAt(50, 250, (uint8_t *)"GREEN LED: OFF", LEFT_MODE);
    }
    osDelay(1);
  }
  /* USER CODE END StartLcdTask */
}

void HAL_TIM_PeriodElapsedCallback(TIM_HandleTypeDef *htim)
{
  if (htim->Instance == TIM6) {
    HAL_IncTick();
  }
}

void Error_Handler(void)
{
  __disable_irq();
  while (1)
  {
  }
}
